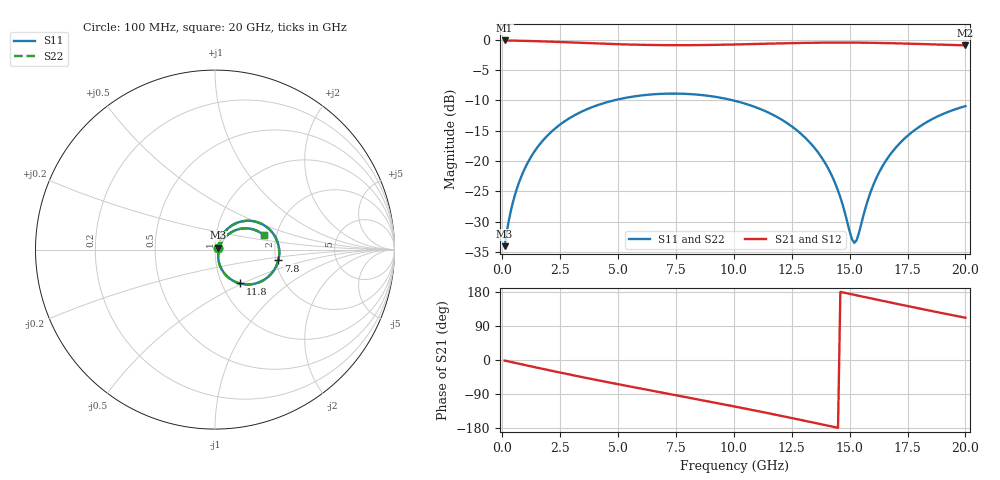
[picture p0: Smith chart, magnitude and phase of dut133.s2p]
! Touchstone file exported from HFSS 2026.1.0
!  File:  C:/ffzhzh/LocalFiles/Ansys_Project_Files/temp_train_TSV_RDL_133_1783049606_17544.aedt
!  Generated:  11:48:17 AM Jul  3, 2026
!  Design:  TSV_RDL
!  Project:  temp_train_TSV_RDL_133_1783049606_17544
! Variables:
!  h_bsmrdl = 3.14um
!  h_ox = 20um
!  h_rdl = 5um
!  h_sub = 62.25um
!  h_tmrdl = 5.42um
!  h_tsv = 62.25um
!  h_via = 3um
!  l_bsmrdl = 122.8um
!  l_sub = 4331.02um
!  l_tmrdl = 857.52um
!  m_sub = 200um
!  pitch = 41.22um
!  r_tsv = 3.08um
!  s_tmrdl = 10um
!  w_bsmrdl = 15.57um
!  w_sub = 500um
!  w_tmrdl = 28.61um
!  x_tsv_center1 = 871.825um
!  x_tsv_center2 = 1010.195um
!  x_tsv_center3 = 1896.325um
!  x_tsv_center4 = 2034.695um
!  x_tsv_center5 = 2920.825um
!  x_tsv_center6 = 3059.195um
# GHz S MA R 50.000000
! Terminal data exported
! Port[1] = TM_RDL1_1_T1
! Port[2] = TM_RDL5_1_T1
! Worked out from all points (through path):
!   200 points, 100 MHz to 20 GHz, reference 50 ohm
!   highest |S21| = -0.15 dB at 100 MHz (marker M1); lowest = -1.0 dB at 20 GHz (marker M2)
!   group delay of S21, straight-line fit = 34.2 ps
!   lowest |S11| = -34.0 dB at 100 MHz (marker M3), VSWR 1.04, Z = 51.7 + j1.02 ohm
!   |S11| at or under -10 dB: start of sweep to 4.842 GHz; 9.946 GHz to end of sweep
!   |S22| runs from -34.0 to -8.9 dB; largest |S21 - S12| = 4e-14
!   S11 on the Smith chart (normalised r, x): 100 MHz: 1.03, +0.02; 7.8 GHz: 2.06, -0.28; 11.8 GHz: 1.22, -0.48; 20 GHz: 1.71, +0.30
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0.1  0.01985 29.8  0.983 -1.4  0.983 -1.4  0.01985 29.8
! Gamma 0 0 0 0
! Port Impedance 50 0 50 0
0.3  0.03362 51.6  0.9807 -4.2  0.9807 -4.2  0.03362 51.6
0.5  0.04882 59.3  0.9793 -6.9  0.9793 -6.9  0.04882 59.3
0.8  0.07276 62.7  0.9769 -10.9  0.9769 -10.9  0.07276 62.7
1.2  0.1048 61.8  0.9729 -16.2  0.9729 -16.2  0.1048 61.8
2.2  0.1795 52.8  0.9589 -29.3  0.9589 -29.3  0.1795 52.7
3.5  0.2586 38.1  0.9372 -45.8  0.9372 -45.8  0.2586 38.1
5.1  0.3245 20.0  0.9139 -65.1  0.9139 -65.1  0.3245 20.0
6.8  0.3566 1.3  0.9003 -84.9  0.9003 -84.9  0.3566 1.2
7.8  0.3577 -9.7  0.8987 -96.5  0.8987 -96.5  0.3577 -9.8
10.1  0.311 -35.0  0.9111 -123.5  0.9111 -123.5  0.311 -35.1
11.8  0.2339 -53.7  0.928 -144.3  0.928 -144.3  0.2339 -53.9
13.4  0.1338 -69.4  0.9411 -164.7  0.9411 -164.7  0.1338 -69.6
14.3  0.07083 -72.4  0.9445 -176.3  0.9445 -176.3  0.07074 -72.8
14.7  0.04349 -65.7  0.9447 178.5  0.9447 178.5  0.04332 -66.2
15.1  0.02269 -31.1  0.9441 173.2  0.9441 173.2  0.02233 -31.5
15.2  0.02116 -13.2  0.9438 171.9  0.9438 171.9  0.02077 -13.3
15.3  0.02217 5.1  0.9435 170.6  0.9435 170.6  0.02179 5.3
16  0.06177 48.9  0.9399 161.5  0.9399 161.5  0.06163 49.1
16.7  0.1094 49.0  0.9341 152.5  0.9341 152.5  0.1093 49.2
18.1  0.1962 37.0  0.9184 134.8  0.9184 134.8  0.1962 37.0
20  0.2827 16.7  0.8955 111.6  0.8955 111.6  0.2828 16.7
